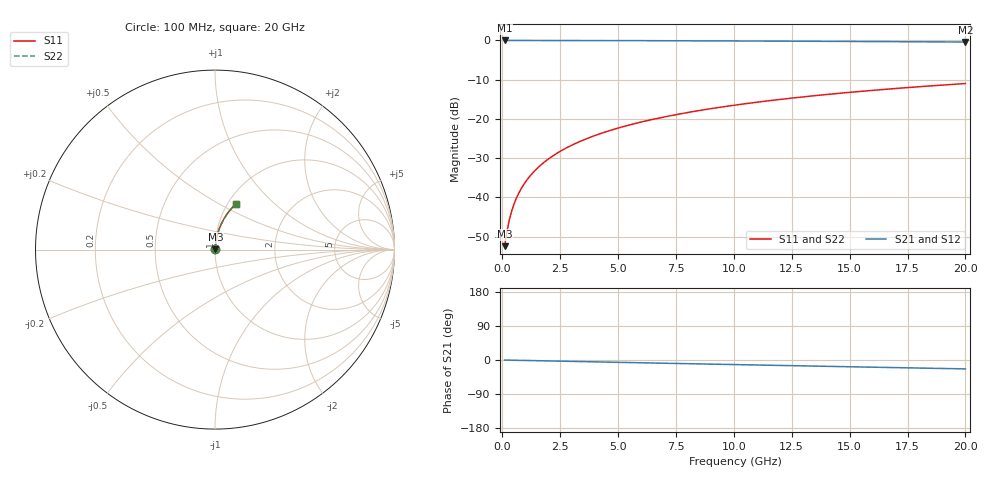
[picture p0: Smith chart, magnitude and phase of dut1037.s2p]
! Touchstone file exported from HFSS 2026.1.0
!  File:  C:/ffzhzh/LocalFiles/Ansys_Project_Files/temp_train_TMRDL_1037_1783160128_22436.aedt
!  Generated:  06:16:42 PM Jul  4, 2026
!  Design:  TMRDL
!  Project:  temp_train_TMRDL_1037_1783160128_22436
! Variables:
!  h_bsmrdl = 2um
!  h_ox = 20um
!  h_rdl = 5um
!  h_sub = 80um
!  h_tmrdl = 4.15um
!  h_tsv = 80um
!  h_via = 3um
!  l_bsmrdl = 300um
!  l_sub = 667.62um
!  l_tmrdl = 267.62um
!  m_sub = 200um
!  pitch = 50.49um
!  r_tsv = 6um
!  s_tmrdl = 10um
!  w_bsmrdl = 18um
!  w_sub = 500um
!  w_tmrdl = 13.85um
!  x_tsv_center1 = 274.545um
!  x_tsv_center2 = 592.545um
!  x_tsv_center3 = 874.015um
!  x_tsv_center4 = 1192.015um
!  x_tsv_center5 = 1473.485um
!  x_tsv_center6 = 1791.485um
# GHz S MA R 50.000000
! Terminal data exported
! Port[1] = TM_RDL1_1_T1
! Port[2] = TM_RDL1_1_T2
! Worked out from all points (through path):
!   200 points, 100 MHz to 20 GHz, reference 50 ohm
!   highest |S21| = -0.02 dB at 100 MHz (marker M1); lowest = -0.4 dB at 20 GHz (marker M2)
!   group delay of S21, straight-line fit = 3.26 ps
!   lowest |S11| = -52.4 dB at 100 MHz (marker M3), VSWR 1.00, Z = 50.2 + j0.161 ohm
!   |S11| at or under -10 dB: start of sweep to end of sweep
!   |S22| runs from -52.4 to -11.0 dB; largest |S21 - S12| = 4.4e-15
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0.1  0.002396 42.1  0.9982 -0.1  0.9982 -0.1  0.002396 42.1
! Gamma 0 0 0 0
! Port Impedance 50 0 50 0
0.2  0.00368 60.3  0.9982 -0.3  0.9982 -0.3  0.00368 60.3
0.3  0.005129 68.5  0.9981 -0.4  0.9981 -0.4  0.005129 68.5
0.4  0.006623 72.9  0.9981 -0.5  0.9981 -0.5  0.006623 72.9
0.5  0.00813 75.6  0.998 -0.6  0.998 -0.6  0.008131 75.6
0.6  0.009644 77.5  0.998 -0.8  0.998 -0.8  0.009644 77.5
0.8  0.01268 79.8  0.9979 -1.0  0.9979 -1.0  0.01268 79.8
1.1  0.01725 81.7  0.9978 -1.4  0.9978 -1.4  0.01725 81.7
1.5  0.02337 82.8  0.9976 -1.9  0.9976 -1.9  0.02337 82.8
1.8  0.02796 83.2  0.9974 -2.2  0.9974 -2.2  0.02796 83.2
2.1  0.03255 83.3  0.9972 -2.6  0.9972 -2.6  0.03255 83.3
2.7  0.04171 83.3  0.9967 -3.3  0.9967 -3.3  0.04171 83.3
3.5  0.05387 82.8  0.9959 -4.3  0.9959 -4.3  0.05387 82.8
4.2  0.06444 82.2  0.995 -5.2  0.995 -5.2  0.06444 82.2
5  0.07644 81.5  0.9939 -6.1  0.9939 -6.1  0.07644 81.5
5.9  0.08982 80.5  0.9924 -7.2  0.9924 -7.2  0.08982 80.5
6.8  0.1031 79.6  0.9908 -8.3  0.9908 -8.3  0.1031 79.6
8.3  0.1249 77.9  0.9878 -10.1  0.9878 -10.1  0.1249 77.9
10.1  0.1506 75.9  0.9837 -12.2  0.9837 -12.2  0.1506 75.9
13.4  0.1964 72.3  0.9748 -16.0  0.9748 -16.0  0.1964 72.3
16.7  0.2403 68.7  0.9644 -19.8  0.9644 -19.8  0.2403 68.7
20  0.2822 65.2  0.9526 -23.5  0.9526 -23.5  0.2822 65.2
